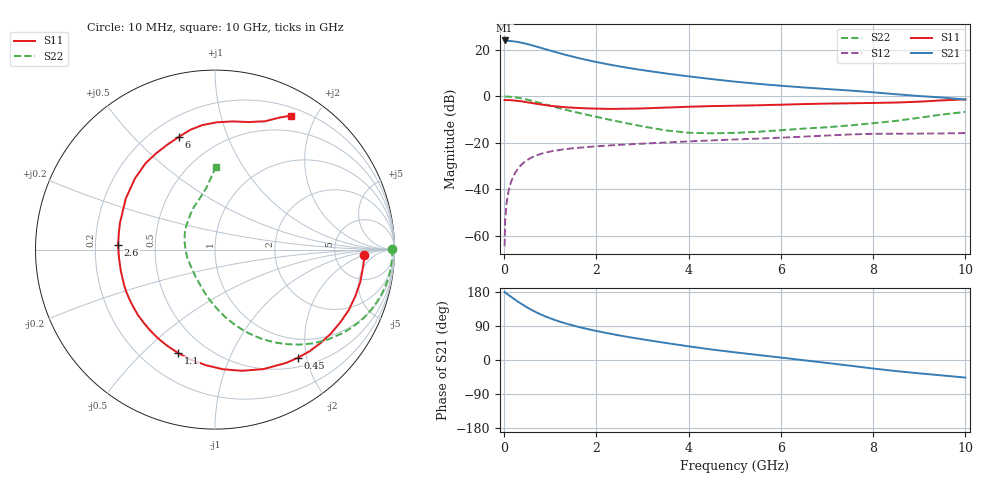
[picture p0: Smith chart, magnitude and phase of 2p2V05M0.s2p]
! (c) 2009  Infineon Technologies AG, Munich
! Infineon Technologies  Discrete & RF Semiconductors
! BFP420
! VCE =  2.0 V,  IC =  5.0 mA
! Common Emitter S-Parameters:  Nov 2009
# GHz  S  MA  R  50
!  f  S11  S21  S12  S22
! GHz  MAG  ANG  MAG  ANG  MAG  ANG  MAG  ANG
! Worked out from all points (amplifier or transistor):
!   46 points, 10 MHz to 10 GHz, reference 50 ohm
!   highest |S21| = 24.0 dB at 10 MHz (marker M1)
!   |S21| within 3 dB of that: start of sweep to 765 MHz
!   unconditionally stable (mu >= 1): 2.992 GHz to end of sweep
!   at 300 MHz: K = 0.10, MSG = 27.2 dB, |S12| = -31.1 dB
!   at 1.7 GHz: K = 0.60, MSG = 19.0 dB, |S12| = -22.0 dB
!   at 10 GHz: K = 1.12, MAG = 5.1 dB, |S12| = -15.8 dB
!   lowest NFmin = 0.66 dB at 900 MHz
!   S11 on the Smith chart (normalised r, x): 10 MHz: 10, -2; 450 MHz: 0.65, -1.85; 1.1 GHz: 0.35, -0.65; 2.6 GHz: 0.30, +0.02; 6 GHz: 0.31, +0.69; 10 GHz: 0.30, +1.68
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0.01  0.8302 -2.0  15.89 179.3  0.0006 116.7  0.985 0.1
0.02  0.8337 -2.5  15.52 178.4  0.002 86.2  0.9884 -1.4
0.05  0.8308 -6.1  15.55 175.4  0.0049 87.6  0.9876 -3.5
0.15  0.8241 -18.2  15.43 166.7  0.0145 80.6  0.9749 -10.8
0.25  0.8074 -30.1  14.96 158.0  0.0236 74.6  0.9492 -17.8
0.35  0.7854 -41.6  14.4 150.0  0.032 68.9  0.9133 -24.5
0.45  0.7591 -52.5  13.69 142.3  0.0394 63.6  0.871 -30.5
0.6  0.7187 -67.9  12.53 131.8  0.0486 56.6  0.8015 -38.9
0.7  0.6918 -77.4  11.76 125.6  0.0537 52.7  0.7549 -43.8
0.9  0.6461 -94.5  10.29 114.7  0.0618 46.2  0.6676 -52.2
1.1  0.6118 -109.6  9.023 105.6  0.0678 41.2  0.5911 -59.4
1.4  0.5771 -129.0  7.5 94.2  0.0745 35.6  0.4958 -68.7
1.7  0.5558 -145.2  6.356 84.8  0.0797 31.6  0.4214 -76.5
2.2  0.538 -167.4  4.994 71.7  0.0868 26.8  0.3283 -88.2
2.6  0.5405 177.2  4.234 62.6  0.0915 23.7  0.2706 -98.3
3.5  0.5726 150.3  3.109 45.0  0.1015 18.4  0.1856 -125.7
4.5  0.6171 128.9  2.346 27.7  0.1127 12.9  0.1606 -163.4
5.5  0.6421 114.4  1.857 13.3  0.1232 7.8  0.1727 167.6
6  0.6602 107.6  1.689 6.4  0.129 5.3  0.1866 155.1
7  0.6976 95.7  1.435 -7.8  0.1436 -0.9  0.2162 134.8
8.5  0.7354 75.1  1.108 -29.3  0.1572 -14.6  0.2973 106.6
10  0.8587 60.4  0.853 -46.4  0.1621 -23.4  0.4629 89.2
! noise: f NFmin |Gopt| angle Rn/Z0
0.9  0.66  0.21  31  0.15
1.8  1.05  0.09  93  0.13
2.4  1.14  0.14  119  0.13
3  1.24  0.17  165  0.11
4  1.41  0.31  -145  0.12
5  1.85  0.38  -119  0.21
6  2.3  0.45  -101  0.36
